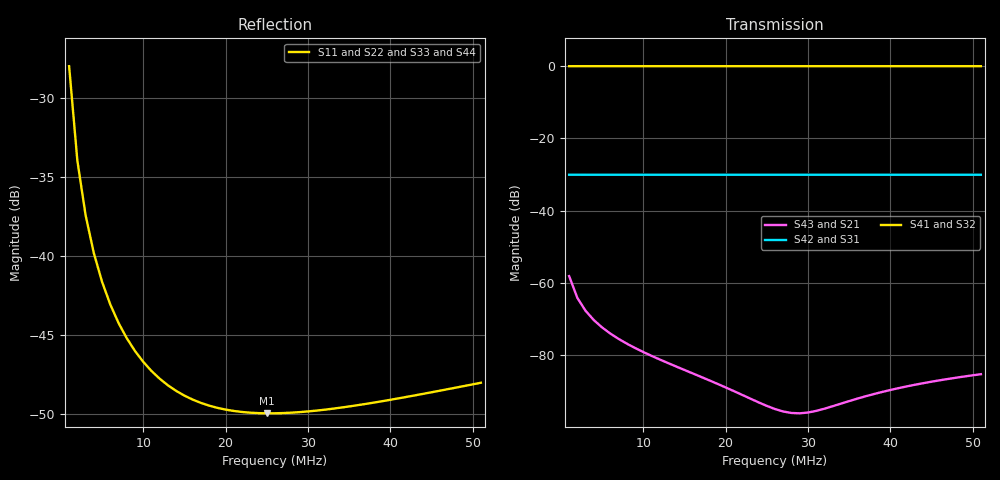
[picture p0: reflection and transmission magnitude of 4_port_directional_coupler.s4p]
# MHz S RI R 50
! S-Parameters data
! Freq  reS11  imS11  reS12  imS12  reS13  imS13  reS14  imS14
!  reS21  imS21  reS22  imS22  reS23  imS23  reS24  imS24
!  reS31  imS31  reS32  imS32  reS33  imS33  reS34  imS34
!  reS41  imS41  reS42  imS42  reS43  imS43  reS44  imS44
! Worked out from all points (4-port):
!   51 points, 1 MHz to 51 MHz, reference 50 ohm
!   strongest paths, dB at 1 MHz, 13 MHz, 26 MHz, 39 MHz, 51 MHz:
!     S41: 0.0, 0.0, 0.0, 0.0, 0.0
!     S32: 0.0, 0.0, 0.0, 0.0, 0.0
!     S42: -30.0, -30.0, -30.0, -30.0, -30.0
!     S31: -30.1, -30.0, -30.0, -30.0, -30.0
!     S43: -58.1, -82.1, -94.9, -90.1, -85.2
!     S21: -58.1, -82.1, -94.8, -90.2, -85.3
!   lowest |S11| = -49.9 dB at 25 MHz (marker M1), VSWR 1.01, Z = 50 + j0.315 ohm
!   |S11| at or under -10 dB: start of sweep to end of sweep
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1  -0.0011 0.0399  -0.000115 0.00124  0.0313 0.0025  0.9979 0.0397
   -0.000115 0.00124  -0.00207 0.0397  0.9979 0.0397  -0.0315 -7.49e-07
   0.0313 0.0025  0.9979 0.0397  -0.0011 0.0399  -0.000115 0.00124
   0.9979 0.0397  -0.0315 -7.49e-07  -0.000115 0.00124  -0.00207 0.0397
2  9.25e-05 0.02  -4.03e-05 0.000622  0.0314 0.00125  0.9991 0.0198
   -4.03e-05 0.000622  -0.000885 0.02  0.9991 0.0198  -0.0315 7.74e-06
   0.0314 0.00125  0.9991 0.0198  9.24e-05 0.0201  -4.03e-05 0.000622
   0.9991 0.0198  -0.0315 7.74e-06  -4.03e-05 0.000622  -0.000885 0.02
4  0.000391 0.0102  -2.17e-05 0.000307  0.0315 0.000628  0.9994 0.00969
   -2.17e-05 0.000307  -0.000589 0.0102  0.9994 0.00969  -0.0315 1.73e-05
   0.0315 0.000628  0.9994 0.00969  0.000391 0.0102  -2.17e-05 0.000307
   0.9994 0.00969  -0.0315 1.73e-05  -2.17e-05 0.000307  -0.000589 0.0102
7  0.000458 0.00613  -1.75e-05 0.000168  0.0315 0.000361  0.9995 0.00524
   -1.75e-05 0.000168  -0.000522 0.00611  0.9995 0.00524  -0.0315 3.08e-05
   0.0315 0.000361  0.9995 0.00524  0.000458 0.00613  -1.75e-05 0.000168
   0.9995 0.00524  -0.0315 3.08e-05  -1.75e-05 0.000168  -0.000522 0.00611
11  0.000477 0.00431  -1.63e-05 9.72e-05  0.0315 0.000233  0.9995 0.00292
    -1.63e-05 9.72e-05  -0.000502 0.0043  0.9995 0.00292  -0.0315 4.86e-05
    0.0315 0.000233  0.9995 0.00292  0.000477 0.00431  -1.63e-05 9.71e-05
    0.9995 0.00292  -0.0315 4.86e-05  -1.63e-05 9.71e-05  -0.000502 0.0043
25  0.00049 0.00314  -1.58e-05 1.24e-05  0.0315 0.000111  0.9995 9.1e-06
    -1.58e-05 1.24e-05  -0.00049 0.00315  0.9995 1.33e-05  -0.0315 0.000111
    0.0315 0.000111  0.9995 1.33e-05  0.00049 0.00315  -1.58e-05 1.23e-05
    0.9995 9.1e-06  -0.0315 0.000111  -1.58e-05 1.23e-05  -0.00049 0.00314
51  0.0005 0.00394  -1.62e-05 -5.22e-05  0.0315 7.18e-05  0.9995 -0.00245
    -1.62e-05 -5.22e-05  -0.00048 0.00396  0.9995 -0.00244  -0.0315 0.000226
    0.0315 7.18e-05  0.9995 -0.00244  0.000499 0.00395  -1.61e-05 -5.24e-05
    0.9995 -0.00245  -0.0315 0.000226  -1.61e-05 -5.24e-05  -0.00048 0.00395
